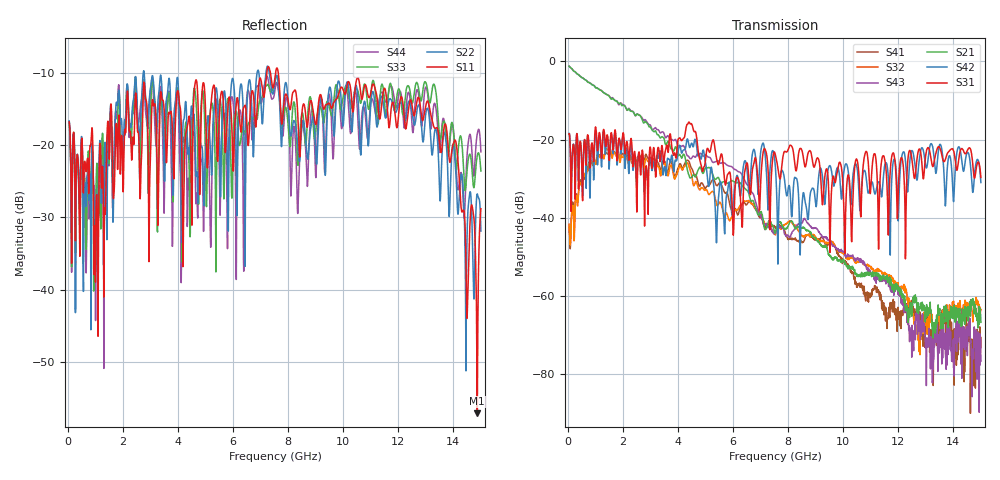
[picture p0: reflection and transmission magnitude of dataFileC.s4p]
! Case1 FM 13SI 20 T D13SI L10.s4p reproduced with file name default.s4p, with permission of Tyco Electronics
!	The ports are defined by
!	Port 1 -----> |  | -----> Port 2
!  |  DUT	|
!	Port 3 -----> |  | -----> Port 4
! FILE: \\descartes\10gec\Vendors\Tyco\Tyco Aug 31 04\Test 1\Test1 FM 13SI 20 T D13SI L10.s4p
! This data is being provided to the industry for analysis for the IEEE 802.3ap Backplane
! Ethernet Task Force.
! Disclaimer:  While Tyco Electronics has made every reasonable effort to ensure the accuracy
! of  the information provided herein, Tyco Electronics does not guarantee that it is error-free,
! nor does Tyco Electronics make any other representation, warranty, or guarantee that the
! information is accurate, correct, reliable or current.  Tyco Electronics reserves the right to
! make any adjustments to the information contained herein at any time without notice.  Tyco
! Electronics expressly disclaims all implied warranties regarding the information contained
! herein, including but not limited to any implied warranties of merchantability or fitness for a
! particular purpose.
! Note 1  This data is representative of the implementation that was measured only.
! Backplane channel behavior is highly sensitive to implementation, which includes board
! materials, trace geometry information, connector pin out, layer connection, use of stub removal
! techniques, such as backdrilling or blind/buried vias, etc.
! Note 2 - Crosstalk measurements are representative of the specific ATCA test cases only.  Crosstalk may
! vary depending on the pinout that is being considered by the user.  Assumptions regarding crosstalk
! behavior of the Z-PACK HM-Zd should be reviewed with Tyco Electronics prior to any simulations
! to permit assessment of the validity of the assumption.
! Note 3  The backplanes and line cards were designed independently of each other.
! Furthermore, the SMA line cards were designed for another pinout.  Hence, there is no
! optimization to limit the overall total skew of the system.
! This file,"Case1 FM 13SI 20 T D13SI L10.s4p", should be used in conjunction with the following files 
!	Case1 FM 13SI 20 N1 D13SI L10.s4p - NEXT Aggressor N1
!	Case1 FM 13SI 20 N2 D13SI L10.s4p - NEXT Aggressor N2
!	Case1 FM 13SI 20 F D13SI L10.s4p - FEXT Aggressor
! Tyco Electronics Test Case#1, Forward Channel Response
!	Test Backplane - Kaparel Full Mesh ATCA Backplane
!		Length - 20.5" (520.7mm)
!		Trace Width - 0.00475" (0.12065mm)
!		Material - 4000-13SI
!  Use of stub removal techniques - No. Bottom stripline layer connection
!	SMA Line Card
!		Length - 10" (254mm)
!		Trace Width - 0.006" (0.1524mm)
!  Material - 4000-13SI (Improved FR-4)
!		Use of stub removal techniques - Launch structure counterbored where necessary.
!		Bottom and near-bottom connections at connector on line cards.
! The backplane used for this testing was from
! Kaparel Corporation
! Contact  Mike Peters
! 519.725.0101
! Email  mpeters@kaparel.com
! The line cards used for this testing were from
! Tyco Electronics
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# MHZ S DB R 50.00
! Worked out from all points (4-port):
!   1496 points, 50 MHz to 15 GHz, reference 50 ohm
!   strongest paths, dB at 50 MHz, 3.79 GHz, 7.53 GHz, 11.27 GHz, 15 GHz:
!     S31: -18.5, -22.5, -23.7, -40.2, -29.7
!     S42: -18.4, -24.2, -26.3, -31.0, -31.0
!     S21: -1.2, -22.5, -43.8, -55.0, -66.8
!     S43: -1.2, -20.0, -43.8, -55.8, -71.3
!     S32: -41.7, -27.3, -44.3, -53.1, -63.6
!     S41: -42.5, -26.5, -42.4, -58.9, -73.3
!   lowest |S11| = -57.1 dB at 14.87 GHz (marker M1), VSWR 1.00, Z = 50.1 + j0.101 ohm
!   |S11| at or under -10 dB: start of sweep to 7.227 GHz; 7.359 GHz to 7.547 GHz (187.2 MHz wide, 2.51 % of centre); 7.644 GHz to end of sweep
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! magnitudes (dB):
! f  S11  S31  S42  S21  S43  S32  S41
! 50 MHz  -16.8  -18.5  -18.4  -1.2  -1.2  -41.7  -42.5
! 1.43 GHz  -18.1  -18.8  -19.0  -8.5  -8.6  -22.4  -23.6
! 4.35 GHz  -17.2  -16.1  -19.9  -28.0  -24.2  -26.0  -25.3
! 6.01 GHz  -23.6  -44.5  -36.2  -30.6  -27.4  -39.2  -38.9
! 13.07 GHz  -13.9  -22.1  -25.7  -65.2  -71.8  -66.2  -67.4
! 14.87 GHz  -57.1  -26.1  -25.1  -65.6  -74.1  -62.2  -69.6
! 15 GHz  -28.8  -29.7  -31.0  -66.8  -71.3  -63.6  -73.3
